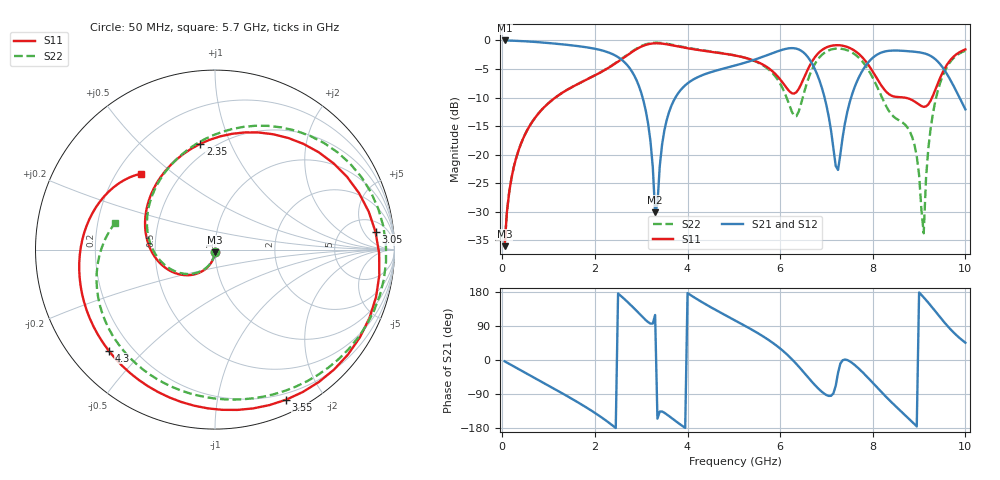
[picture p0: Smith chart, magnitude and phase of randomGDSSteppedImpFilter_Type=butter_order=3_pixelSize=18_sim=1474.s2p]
! freq	dB(S11)	phase(S11)	dB(S12)	phase(S12)
!  dB(S21)	phase(S21)	dB(S22)	phase(S22)
!S-par simulation data
#  GHz  S  DB  R 50
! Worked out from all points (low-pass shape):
!   200 points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, 50 MHz to 10 GHz, reference 50 ohm
!   highest |S21| = 0.00 dB at 50 MHz (marker M1); lowest = -30.1 dB at 3.3 GHz (marker M2)
!   |S21| within 3 dB of the highest: start of sweep to 2.514 GHz; 8.004 GHz to 9.306 GHz (1.302 GHz wide, 15 % of centre) (the widest 2 of 3)
!   lowest |S11| = -36.0 dB at 50 MHz (marker M3), VSWR 1.03, Z = 49.9 - j1.58 ohm
!   |S11| at or under -10 dB: start of sweep to 1.146 GHz; 8.677 GHz to 9.28 GHz (602.9 MHz wide, 6.71 % of centre)
!   |S22| runs from -36.0 to -0.4 dB; largest |S21 - S12| = 0
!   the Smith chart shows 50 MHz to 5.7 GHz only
!   S11 on the Smith chart (normalised r, x): 50 MHz: 1.00, -0.03; 2.35 GHz: 0.43, +0.78; 3.05 GHz: 9, +9; 3.55 GHz: 0.14, -1.57; 4.3 GHz: 0.12, -0.39; 5.7 GHz: 0.30, +0.39
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0.05  -36.02 -93.1  -0.00 -3.4  -0.00 -3.4  -36.02 -93.3
0.5  -16.31 -123.5  -0.15 -34.0  -0.15 -34.0  -16.31 -125.4
1.75  -7.14 150.8  -1.12 -120.3  -1.12 -120.3  -7.13 146.9
2.35  -4.51 97.9  -2.29 -169.8  -2.29 -169.8  -4.46 100.0
3.05  -0.92 6.3  -10.60 110.9  -10.60 110.9  -0.82 26.3
3.3  -0.50 -31.2  -30.10 118.8  -30.10 118.8  -0.40 -4.1
3.4  -0.52 -45.2  -22.05 -136.0  -22.05 -136.0  -0.42 -15.6
3.55  -0.67 -64.6  -13.94 -143.4  -13.94 -143.4  -0.57 -31.6
4.3  -1.75 -136.5  -6.14 153.6  -6.14 153.6  -1.69 -93.7
5.05  -2.68 172.7  -4.34 102.9  -4.34 102.9  -2.66 -143.8
5.7  -4.58 134.3  -2.64 57.0  -2.64 57.0  -4.76 165.3
6.3  -9.31 133.7  -1.36 -3.8  -1.36 -3.8  -13.19 43.3
6.7  -3.54 138.2  -4.21 -59.4  -4.21 -59.4  -4.88 -97.6
7.25  -0.83 86.5  -22.67 -34.0  -22.67 -34.0  -1.43 174.4
7.65  -2.04 50.1  -7.34 -17.3  -7.34 -17.3  -2.67 116.9
8  -5.45 25.5  -3.03 -60.2  -3.03 -60.2  -6.54 53.9
8.35  -9.41 26.8  -1.81 -104.9  -1.81 -104.9  -12.36 -34.0
8.9  -10.68 34.5  -1.98 -169.2  -1.98 -169.2  -18.27 -155.9
9.1  -11.63 45.1  -2.24 165.2  -2.24 165.2  -33.76 -68.4
9.2  -11.19 55.9  -2.51 151.2  -2.51 151.2  -18.88 -39.7
9.35  -8.65 66.5  -3.28 128.8  -3.28 128.8  -10.65 -60.3
10  -1.58 29.1  -12.07 45.7  -12.07 45.7  -1.79 -147.6
